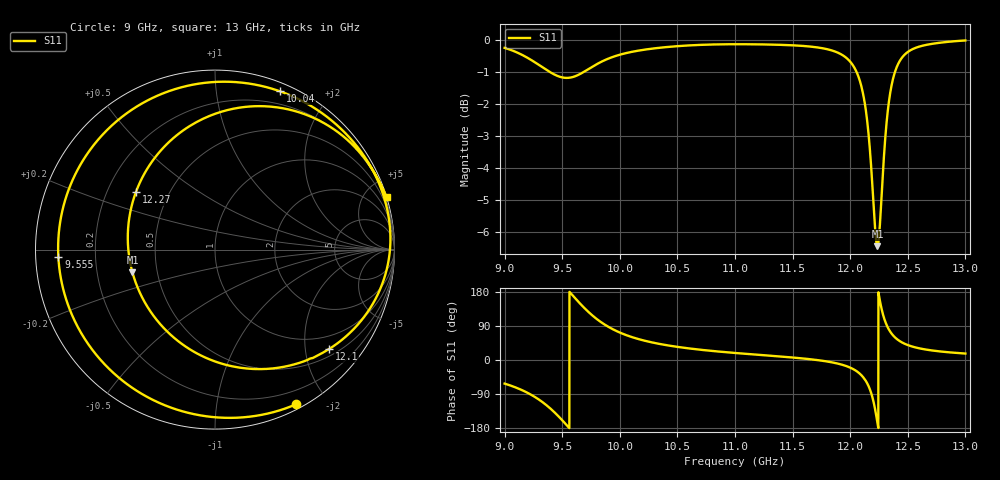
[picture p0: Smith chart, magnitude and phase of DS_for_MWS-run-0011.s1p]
! TOUCHSTONE file generated by CST DESIGN STUDIO
! Date and time: Tue Feb  4 13:55:52 2025
! Project name: C:\Work\MatlabApps\UnitCellOptimizationMatlab\CST\unitcell.cst
! Tree item: Tasks\Sweep1\SPara1\S-Parameters
! Header version: 2024
! Port assignment regex: !\s*Touchstone port\s*([0-9]+)\s*=\s*(CST MWS port|CST DES external port|CST DES block port)\s*(.+)\s* \(\"(.*)\"\)(\s*mode\s*([0-9]+))?.*
! Touchstone port assignment:
! Touchstone port 1 = CST DES external port 1 ("")
# GHz S MA R 50
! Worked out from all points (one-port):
!   4001 points, 9 GHz to 13 GHz, reference 50 ohm
!   lowest |S11| = -6.4 dB at 12.24 GHz (marker M1), VSWR 2.82, Z = 18 - j5.84 ohm
!   |S11| at or under -10 dB: nowhere
!   S11 on the Smith chart (normalised r, x): 9 GHz: 0.05, -1.65; 9.555 GHz: 0.07, -0.02; 10.04 GHz: 0.08, +1.49; 12.1 GHz: 0.66, -2.52; 12.27 GHz: 0.32, +0.29; 13 GHz: 0.02, +6.69
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9  0.973 -62.3
9.149  0.9494 -79.2
9.3  0.9147 -104.9
9.402  0.8902 -129.4
9.5  0.875 -158.9
9.555  0.8737 -177.4
9.644  0.8838 152.5
9.761  0.9091 117.8
9.864  0.9301 94.4
10  0.9494 72.4
10.038  0.9534 67.7
10.236  0.968 49.4
10.5  0.979 34.6
11  0.9858 18.6
11.5  0.982 6.6
11.808  0.9676 -4.3
12  0.9259 -20.1
12.1  0.843 -41.1
12.141  0.7652 -57.9
12.18  0.6423 -85.2
12.207  0.5382 -116.3
12.236  0.4771 -164.7
12.266  0.5448 144.0
12.3  0.6871 105.0
12.337  0.8042 79.9
12.406  0.9099 55.1
12.5  0.9588 39.4
13  0.9993 17.0
